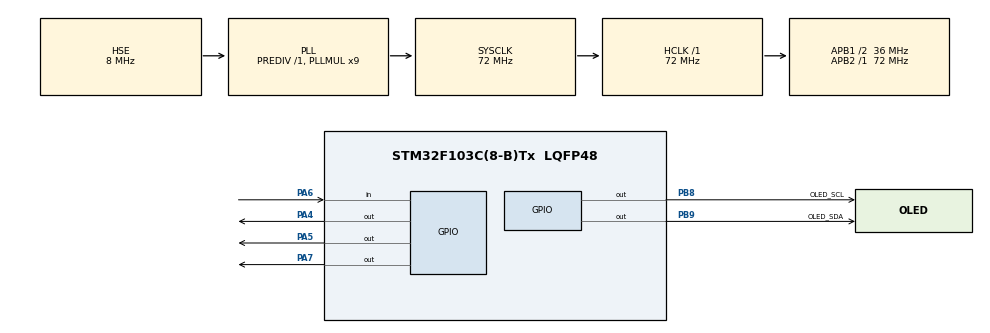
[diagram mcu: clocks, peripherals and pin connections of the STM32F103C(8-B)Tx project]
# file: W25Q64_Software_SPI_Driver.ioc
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Mcu.Family=STM32F1
Mcu.Name=STM32F103C(8-B)Tx
Mcu.Package=LQFP48
NVIC.PriorityGroup=NVIC_PRIORITYGROUP_4
PA13.Mode=Serial_Wire
PA13.Signal=SYS_JTMS-SWDIO
PA14.Mode=Serial_Wire
PA14.Signal=SYS_JTCK-SWCLK
PA4.GPIO_Speed=GPIO_SPEED_FREQ_HIGH
PA4.PinState=GPIO_PIN_SET
PA4.Signal=GPIO_Output
PA5.GPIO_Speed=GPIO_SPEED_FREQ_HIGH
PA5.Signal=GPIO_Output
PA6.GPIO_PuPd=GPIO_PULLUP
PA6.Signal=GPIO_Input
PA7.GPIO_Speed=GPIO_SPEED_FREQ_HIGH
PA7.Signal=GPIO_Output
PB8.GPIO_Label=OLED_SCL
PB8.GPIO_ModeDefaultOutputPP=GPIO_MODE_OUTPUT_OD
PB8.GPIO_PuPd=GPIO_PULLUP
PB8.PinState=GPIO_PIN_SET
PB8.Signal=GPIO_Output
PB9.GPIO_Label=OLED_SDA
PB9.GPIO_ModeDefaultOutputPP=GPIO_MODE_OUTPUT_OD
PB9.GPIO_PuPd=GPIO_PULLUP
PB9.PinState=GPIO_PIN_SET
PB9.Signal=GPIO_Output
PD0-OSC_IN.Mode=HSE-External-Oscillator
PD0-OSC_IN.Signal=RCC_OSC_IN
PD1-OSC_OUT.Mode=HSE-External-Oscillator
PD1-OSC_OUT.Signal=RCC_OSC_OUT
ProjectManager.HeapSize=0x200
ProjectManager.StackSize=0x400
ProjectManager.TargetToolchain=CMake
RCC.AHBFreq_Value=72000000
RCC.APB1CLKDivider=RCC_HCLK_DIV2
RCC.APB1Freq_Value=36000000
RCC.APB1TimFreq_Value=72000000
RCC.APB2Freq_Value=72000000
RCC.APB2TimFreq_Value=72000000
RCC.HCLKFreq_Value=72000000
RCC.PLLMUL=RCC_PLL_MUL9
RCC.PLLSourceVirtual=RCC_PLLSOURCE_HSE
RCC.SYSCLKFreq_VALUE=72000000
RCC.SYSCLKSource=RCC_SYSCLKSOURCE_PLLCLK
RCC.USBFreq_Value=72000000
board=custom

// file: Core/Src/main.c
/* USER CODE BEGIN Header */
/**
  ******************************************************************************
  * @file           : main.c
  * @brief          : Main program body
  ******************************************************************************
  * @attention
  *
  * Copyright (c) 2026 STMicroelectronics.
  * All rights reserved.
  *
  * This software is licensed under terms that can be found in the LICENSE file
  * in the root directory of this software component.
  * If no LICENSE file comes with this software, it is provided AS-IS.
  *
  ******************************************************************************
  */
/* USER CODE END Header */
#include "main.h"
#include "gpio.h"

/* USER CODE BEGIN Includes */
#include "oled.h"
#include "W25Q64.h"
/* USER CODE END Includes */

void SystemClock_Config(void);

int main(void)
{

  /* MCU Configuration--------------------------------------------------------*/

  /* Reset of all peripherals, Initializes the Flash interface and the Systick. */
  HAL_Init();

  /* Configure the system clock */
  SystemClock_Config();

  /* Initialize all configured peripherals */
  MX_GPIO_Init();
  /* USER CODE BEGIN 2 */
    /* 1. 初始化外设：0.96吋 OLED 显示屏与 W25Q64 SPI Flash 模块 */
    OLED_Init();
    W25Q64_Init();

    /* 变量定义：用于存储 Flash ID 和读写测试数据 */
    uint8_t MID = 0;                             // 厂商 ID (Manufacturer ID)
    uint16_t DID = 0;                            // 设备 ID (Device ID)
    uint8_t ArrayWrite[] = {0x01, 0x02, 0x03, 0x04}; // 准备写入 Flash 的数据字节
    uint8_t ArrayRead[4] = {0};                  // 存储从 Flash 读回数据的缓冲区

    /* 2. 读取 W25Q64 芯片 ID（正常情况下 MID 为 0xEF，DID 为 0x4017） */
    W25Q64_ReadID(&MID, &DID);

    /* 3. 在 OLED 第 1 行显示硬件 ID，格式为：[MID] [DID] */
    OLED_ShowHexNum(1, 1, MID, 2);              // 第1行第1列显示 2 位 Hex (MID: 0xEF)
    OLED_ShowHexNum(1, 4, DID, 4);              // 第1行第4列显示 4 位 Hex (DID: 0x4017)

    /* 4. 执行擦除与写入测试（Flash 写入前必须擦除所在扇区） */
    W25Q64_SectorErase(0x000000);               // 擦除地址 0x000000 所在的 4KB 扇区
    W25Q64_PageProgram(0x000000, ArrayWrite, 4); // 向地址 0x000000 写入 4 字节数据 {0x01, 0x02, 0x03, 0x04}

    /* 5. 读回写入的数据 */
    W25Q64_ReadData(0x000000, ArrayRead, 4);     // 从地址 0x000000 读回 4 字节数据

    /* 6. 在 OLED 第 2 行显示读出的 4 字节 Hex 数据，校验读写是否一致 */
    OLED_ShowHexNum(2, 1, ArrayRead[0], 2);      // 显示 0x01
    OLED_ShowHexNum(2, 4, ArrayRead[1], 2);      // 显示 0x02
    OLED_ShowHexNum(2, 7, ArrayRead[2], 2);      // 显示 0x03
    OLED_ShowHexNum(2, 10, ArrayRead[3], 2);     // 显示 0x04
  /* USER CODE END 2 */

  /* Infinite loop */
  while (1)
  {

  }
}

void SystemClock_Config(void)
{
  RCC_OscInitTypeDef RCC_OscInitStruct = {0};
  RCC_ClkInitTypeDef RCC_ClkInitStruct = {0};

  /** Initializes the RCC Oscillators according to the specified parameters
  * in the RCC_OscInitTypeDef structure.
  */
  RCC_OscInitStruct.OscillatorType = RCC_OSCILLATORTYPE_HSE;
  RCC_OscInitStruct.HSEState = RCC_HSE_ON;
  RCC_OscInitStruct.HSEPredivValue = RCC_HSE_PREDIV_DIV1;
  RCC_OscInitStruct.HSIState = RCC_HSI_ON;
  RCC_OscInitStruct.PLL.PLLState = RCC_PLL_ON;
  RCC_OscInitStruct.PLL.PLLSource = RCC_PLLSOURCE_HSE;
  RCC_OscInitStruct.PLL.PLLMUL = RCC_PLL_MUL9;
  if (HAL_RCC_OscConfig(&RCC_OscInitStruct) != HAL_OK)
  {
    Error_Handler();
  }

  /** Initializes the CPU, AHB and APB buses clocks
  */
  RCC_ClkInitStruct.ClockType = RCC_CLOCKTYPE_HCLK|RCC_CLOCKTYPE_SYSCLK
                              |RCC_CLOCKTYPE_PCLK1|RCC_CLOCKTYPE_PCLK2;
  RCC_ClkInitStruct.SYSCLKSource = RCC_SYSCLKSOURCE_PLLCLK;
  RCC_ClkInitStruct.AHBCLKDivider = RCC_SYSCLK_DIV1;
  RCC_ClkInitStruct.APB1CLKDivider = RCC_HCLK_DIV2;
  RCC_ClkInitStruct.APB2CLKDivider = RCC_HCLK_DIV1;

  if (HAL_RCC_ClockConfig(&RCC_ClkInitStruct, FLASH_LATENCY_2) != HAL_OK)
  {
    Error_Handler();
  }
}

void Error_Handler(void)
{
  __disable_irq();
  while (1)
  {
  }
}
